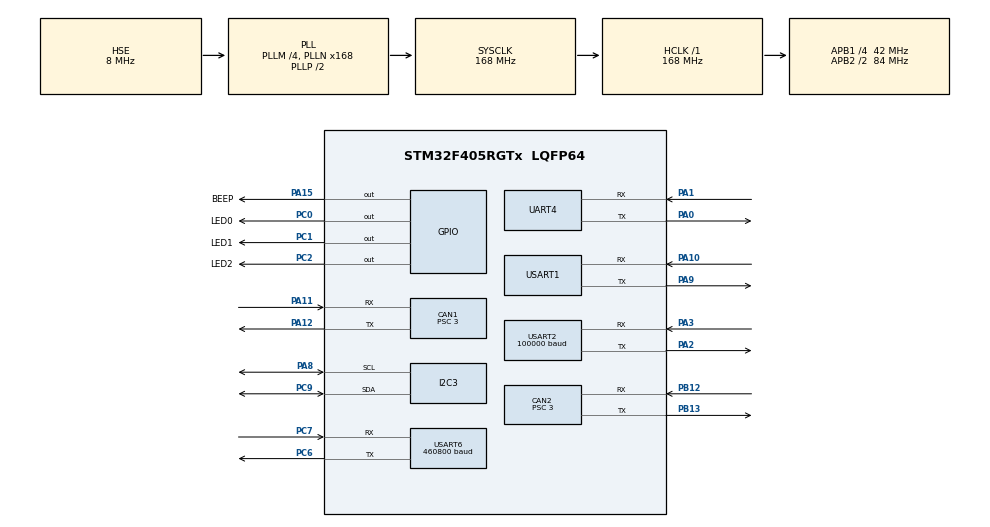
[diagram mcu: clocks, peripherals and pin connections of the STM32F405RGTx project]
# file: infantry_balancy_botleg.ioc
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CAN1.BS1=CAN_BS1_9TQ
CAN1.BS2=CAN_BS2_4TQ
CAN1.CalculateTimeQuantum=71.42857142857143
CAN1.Prescaler=3
CAN2.BS1=CAN_BS1_9TQ
CAN2.BS2=CAN_BS2_4TQ
CAN2.CalculateTimeQuantum=71.42857142857143
CAN2.Prescaler=3
Dma.Request0=USART2_RX
Dma.Request1=USART6_RX
Dma.USART2_RX.0.Direction=DMA_PERIPH_TO_MEMORY
Dma.USART2_RX.0.FIFOMode=DMA_FIFOMODE_DISABLE
Dma.USART2_RX.0.Instance=DMA1_Stream5
Dma.USART2_RX.0.MemDataAlignment=DMA_MDATAALIGN_BYTE
Dma.USART2_RX.0.MemInc=DMA_MINC_ENABLE
Dma.USART2_RX.0.Mode=DMA_NORMAL
Dma.USART2_RX.0.PeriphDataAlignment=DMA_PDATAALIGN_BYTE
Dma.USART2_RX.0.PeriphInc=DMA_PINC_DISABLE
Dma.USART2_RX.0.Priority=DMA_PRIORITY_LOW
Dma.USART6_RX.1.Direction=DMA_PERIPH_TO_MEMORY
Dma.USART6_RX.1.FIFOMode=DMA_FIFOMODE_DISABLE
Dma.USART6_RX.1.Instance=DMA2_Stream1
Dma.USART6_RX.1.MemDataAlignment=DMA_MDATAALIGN_BYTE
Dma.USART6_RX.1.MemInc=DMA_MINC_ENABLE
Dma.USART6_RX.1.Mode=DMA_NORMAL
Dma.USART6_RX.1.PeriphDataAlignment=DMA_PDATAALIGN_BYTE
Dma.USART6_RX.1.PeriphInc=DMA_PINC_DISABLE
Dma.USART6_RX.1.Priority=DMA_PRIORITY_LOW
I2C3.I2C_Mode=I2C_Fast
Mcu.Family=STM32F4
Mcu.Name=STM32F405RGTx
Mcu.Package=LQFP64
NVIC.CAN1_RX0_IRQn=true\:0\:0\:false\:false\:true\:true\:true
NVIC.CAN1_TX_IRQn=true\:0\:0\:false\:false\:true\:true\:true
NVIC.CAN2_RX0_IRQn=true\:0\:0\:false\:false\:true\:true\:true
NVIC.CAN2_TX_IRQn=true\:0\:0\:false\:false\:true\:true\:true
NVIC.DMA1_Stream5_IRQn=true\:0\:0\:false\:false\:true\:false\:true
NVIC.DMA2_Stream1_IRQn=true\:0\:0\:false\:false\:true\:false\:true
NVIC.PriorityGroup=NVIC_PRIORITYGROUP_4
NVIC.TIM3_IRQn=true\:0\:0\:false\:false\:true\:true\:true
NVIC.USART2_IRQn=true\:0\:0\:false\:false\:true\:true\:true
NVIC.USART6_IRQn=true\:0\:0\:false\:false\:true\:true\:true
PA0-WKUP.Mode=Asynchronous
PA0-WKUP.Signal=UART4_TX
PA1.Mode=Asynchronous
PA1.Signal=UART4_RX
PA10.Mode=Asynchronous
PA10.Signal=USART1_RX
PA11.Mode=Master
PA11.Signal=CAN1_RX
PA12.Mode=Master
PA12.Signal=CAN1_TX
PA13.Mode=Serial_Wire
PA13.Signal=SYS_JTMS-SWDIO
PA14.Mode=Serial_Wire
PA14.Signal=SYS_JTCK-SWCLK
PA15.GPIO_Label=BEEP
PA15.Signal=GPIO_Output
PA2.Mode=Asynchronous
PA2.Signal=USART2_TX
PA3.Mode=Asynchronous
PA3.Signal=USART2_RX
PA8.Mode=I2C
PA8.Signal=I2C3_SCL
PA9.Mode=Asynchronous
PA9.Signal=USART1_TX
PB12.Mode=Slave
PB12.Signal=CAN2_RX
PB13.Mode=Slave
PB13.Signal=CAN2_TX
PC0.GPIO_Label=LED0
PC0.PinState=GPIO_PIN_SET
PC0.Signal=GPIO_Output
PC1.GPIO_Label=LED1
PC1.PinState=GPIO_PIN_SET
PC1.Signal=GPIO_Output
PC2.GPIO_Label=LED2
PC2.PinState=GPIO_PIN_SET
PC2.Signal=GPIO_Output
PC6.Mode=Asynchronous
PC6.Signal=USART6_TX
PC7.Mode=Asynchronous
PC7.Signal=USART6_RX
PC9.Mode=I2C
PC9.Signal=I2C3_SDA
PH0-OSC_IN.Mode=HSE-External-Oscillator
PH0-OSC_IN.Signal=RCC_OSC_IN
PH1-OSC_OUT.Mode=HSE-External-Oscillator
PH1-OSC_OUT.Signal=RCC_OSC_OUT
ProjectManager.HeapSize=0x200
ProjectManager.StackSize=0x400
ProjectManager.TargetToolchain=MDK-ARM V5
RCC.48MHZClocksFreq_Value=84000000
RCC.AHBFreq_Value=168000000
RCC.APB1CLKDivider=RCC_HCLK_DIV4
RCC.APB1Freq_Value=42000000
RCC.APB1TimFreq_Value=84000000
RCC.APB2CLKDivider=RCC_HCLK_DIV2
RCC.APB2Freq_Value=84000000
RCC.APB2TimFreq_Value=168000000
RCC.CortexFreq_Value=168000000
RCC.HCLKFreq_Value=168000000
RCC.HSE_VALUE=8000000
RCC.HSI_VALUE=16000000
RCC.LSE_VALUE=32768
RCC.PLLM=4
RCC.PLLN=168
RCC.PLLSourceVirtual=RCC_PLLSOURCE_HSE
RCC.SYSCLKFreq_VALUE=168000000
RCC.SYSCLKSource=RCC_SYSCLKSOURCE_PLLCLK
RCC.VCOOutputFreq_Value=336000000
TIM3.AutoReloadPreload=TIM_AUTORELOAD_PRELOAD_ENABLE
TIM3.Period=1000-1
TIM3.Prescaler=84-1
UART4.VirtualMode=Asynchronous
USART1.VirtualMode=VM_ASYNC
USART2.BaudRate=100000
USART2.VirtualMode=VM_ASYNC
USART6.BaudRate=460800
USART6.VirtualMode=VM_ASYNC
VP_TIM3_VS_ClockSourceINT.Mode=Internal
board=custom

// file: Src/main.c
/* USER CODE BEGIN Header */
/**
  ******************************************************************************
  * @file           : main.c
  * @brief          : Main program body
  ******************************************************************************
  * @attention
  *
  * <h2><center>&copy; Copyright (c) 2023 STMicroelectronics.
  * All rights reserved.</center></h2>
  *
  * This software component is licensed by ST under BSD 3-Clause license,
  * the "License"; You may not use this file except in compliance with the
  * License. You may obtain a copy of the License at:
  *                        opensource.org/licenses/BSD-3-Clause
  *
  ******************************************************************************
  */
/* USER CODE END Header */

#include "main.h"
#include "can.h"
#include "dma.h"
#include "i2c.h"
#include "tim.h"
#include "usart.h"
#include "gpio.h"

/* USER CODE BEGIN Includes */
#include "RC_Task.h"
#include "DataScope_DP.h"
#include "balance_ctrl.h"
#include "balance_cal.h"
#include "imu_data_decode.h"
#include "IMU_Task.h"
#include "CanBus_Task.h"
#include "oled_iic.h"
#include "chassis_task.h"
/* USER CODE END Includes */

/* USER CODE BEGIN PD */
#define LEFT  0
#define RIGHT 1
/* USER CODE END PD */

void SystemClock_Config(void);

/* USER CODE BEGIN 0 */
uint8_t aRxBuffer6[1];

uint8_t OLED_Flag;//屏幕刷新任务时间标志位

#if 1 //R标
/****************************************R标志************************************/
 unsigned char R[] =
{0xFF,0xFF,0xFF,0xFF,0xFF,0xFF,0xFF,0xFF,0xFF,0xFF,0xFF,0xFF,0xFF,0xFF,0xFF,0xFF,
0xFF,0xFF,0xFF,0xFF,0xFF,0xFF,0xFF,0xFF,0xFF,0xFF,0xFF,0xFF,0xFF,0xFF,0xFF,0xFF,
0xFF,0xFF,0xFF,0xFF,0xFF,0xFF,0xFF,0xFF,0xFF,0xFF,0xFF,0xFF,0xFF,0xF7,0xE7,0xC7,
0x07,0x07,0x07,0x07,0x07,0x07,0x07,0x07,0x07,0x07,0x07,0x07,0x07,0x07,0x07,0x07,
0x07,0x07,0x07,0x07,0x07,0x07,0x07,0x07,0x07,0x07,0x07,0x07,0x07,0x0F,0x1F,0x1F,
0x3F,0xFF,0xFF,0xFF,0xFF,0xFF,0xFF,0xFF,0xFF,0xFF,0xFF,0xFF,0xFF,0xFF,0xFF,0xFF,
0xFF,0xFF,0xFF,0xFF,0xFF,0xFF,0xFF,0xFF,0xFF,0xFF,0xFF,0xFF,0xFF,0xFF,0xFF,0xFF,
0xFF,0xFF,0xFF,0xFF,0xFF,0xFF,0xFF,0xFF,0xFF,0xFF,0xFF,0xFF,0xFF,0xFF,0xFF,0xFF,
0xFF,0xFF,0xFF,0xFF,0xFF,0xFF,0xFF,0xFF,0xFF,0xFF,0xFF,0xFF,0xFF,0xFF,0xFF,0xFF,
0xFF,0xFF,0xFF,0xFF,0xFF,0xFF,0xFF,0xFF,0xFF,0xFF,0xFF,0xFF,0xFF,0xFF,0xFF,0xFF,
0xFF,0xFF,0xFF,0xFF,0xFF,0xFF,0xFF,0xFF,0xFF,0xFF,0xFF,0xFF,0xFF,0xFF,0xFF,0xFF,
0xFF,0xFC,0xF8,0xF0,0xE0,0xC0,0x80,0x00,0x00,0x00,0x00,0x00,0x00,0x04,0x0C,0x1C,
0x3C,0x7C,0xFC,0xFC,0xFC,0xFC,0xFC,0xFC,0xFC,0xF8,0x78,0x00,0x00,0x00,0x00,0x00,
0x00,0x00,0x03,0xFF,0xFF,0xFF,0xFF,0xFF,0xFF,0xFF,0xFF,0xFF,0xFF,0xFF,0xFF,0xFF,
0xFF,0xFF,0xFF,0xFF,0xFF,0xFF,0xFF,0xFF,0xFF,0xFF,0xFF,0xFF,0xFF,0xFF,0xFF,0xFF,
0xFF,0xFF,0xFF,0xFF,0xFF,0xFF,0xFF,0xFF,0xFF,0xFF,0xFF,0xFF,0xFF,0xFF,0xFF,0xFF,
0xFF,0xFF,0xFF,0xFF,0xFF,0xFF,0xFF,0xFF,0xFF,0xFF,0xFF,0xFF,0xFF,0xFF,0xFF,0xFF,
0xFF,0xFF,0xFF,0xFF,0xFF,0xFF,0xFF,0xFF,0xFF,0xFF,0xFF,0xFF,0xFF,0xFF,0xFF,0xFF,
0xFF,0xFF,0xFF,0xFF,0xFF,0xFF,0xFF,0xFF,0xFF,0xFF,0xFF,0xFF,0xFF,0xFF,0xFF,0xFF,
0x3F,0x03,0x00,0x00,0x00,0x00,0x00,0x00,0x00,0x00,0x00,0x00,0x00,0x00,0x00,0x00,
0x00,0x00,0x00,0x00,0x00,0x00,0x00,0x00,0x00,0x00,0x00,0x00,0x80,0x80,0xC0,0xC0,
0xF0,0xF8,0xFE,0xFF,0xFF,0xFF,0xFF,0xFF,0xFF,0xFF,0xFF,0xFF,0xFF,0xFF,0xFF,0xFF,
0xFF,0xFF,0xFF,0xFF,0xFF,0xFF,0xFF,0xFF,0xFF,0xFF,0xFF,0xFF,0xFF,0xFF,0xFF,0xFF,
0xFF,0xFF,0xFF,0xFF,0xFF,0xFF,0xFF,0xFF,0xFF,0xFF,0xFF,0xFF,0xFF,0xFF,0xFF,0xFF,
0xFF,0xFF,0xFF,0xFF,0xFF,0xFF,0xFF,0xFF,0xFF,0xFF,0xFF,0xFF,0xFF,0xFF,0xFF,0xFF,
0xFF,0xFF,0xFF,0xFF,0xFF,0xFF,0xFF,0xFF,0xFF,0xFF,0xFF,0xFF,0xFF,0xFF,0xFF,0xFF,
0xFF,0xFF,0xFF,0xFF,0xFF,0xFF,0xFF,0xFF,0xFF,0xFF,0xFF,0xFF,0xFF,0xFF,0x1F,0x03,
0x00,0x00,0x00,0x00,0x00,0x00,0x00,0x00,0xE0,0xFC,0xFF,0xFF,0xFF,0xFF,0xFF,0xFF,
0xFD,0xF9,0xF1,0xC1,0x81,0x01,0x01,0x01,0x01,0x01,0x01,0x03,0x07,0x0F,0x1F,0x7F,
0xFF,0xFF,0xFF,0xFF,0xFF,0xFF,0xFF,0xFF,0xFF,0xFF,0xFF,0xFF,0xFF,0xFF,0xFF,0xFF,
0xFF,0xFF,0xFF,0xFF,0xFF,0xFF,0xFF,0xFF,0xFF,0xFF,0xFF,0xFF,0xFF,0xFF,0xFF,0xFF,
0xFF,0xFF,0xFF,0xFF,0xFF,0xFF,0xFF,0xFF,0xFF,0xFF,0xFF,0xFF,0xFF,0xFF,0xFF,0xFF,
0xFF,0xFF,0xFF,0xFF,0xFF,0xFF,0xFF,0xFF,0xFF,0xFF,0xFF,0xFF,0xFF,0xFF,0xFF,0xFF,
0xFF,0xFF,0xFF,0xFF,0xFF,0xFF,0xFF,0xFF,0xFF,0xFF,0xFF,0xFF,0xFF,0xFF,0xFF,0xFF,
0xFF,0xFF,0xFF,0xFF,0xFF,0xFF,0xFF,0xFF,0xFF,0xFF,0xFF,0xFF,0xEF,0xE1,0xE0,0xE0,
0xE0,0xE0,0xE0,0xE0,0xE0,0xE0,0xF0,0xFE,0xFF,0xFF,0xFF,0xFF,0xFF,0xFE,0xFE,0xFC,
0xFC,0xF8,0xF8,0xF0,0xF0,0xE0,0xE0,0xC0,0xC0,0x80,0x80,0x00,0x08,0x38,0x78,0xF8,
0xF8,0xF9,0xFB,0xFF,0xFF,0xFF,0xFF,0xFF,0xFF,0xFF,0xFF,0xFF,0xFF,0xFF,0xFF,0xFF,
0xFF,0xFF,0xFF,0xFF,0xFF,0xFF,0xFF,0xFF,0xFF,0xFF,0xFF,0xFF,0xFF,0xFF,0xFF,0xFF,
0xFF,0xFF,0xFF,0xFF,0xFF,0xFF,0xFF,0xFF,0xFF,0xFF,0xFF,0xFF,0xFF,0xFF,0xFF,0xFF,
0xFF,0xFF,0xFF,0xFF,0xFF,0xFF,0xFF,0xFF,0xFF,0xFF,0xFF,0xFF,0xFF,0xFF,0xFF,0xFF,
0xFF,0xFF,0xFF,0xFF,0xFF,0xFF,0xFF,0xFF,0xFF,0xFF,0xFF,0xFF,0xFF,0xFF,0xFF,0x7F,
0x7F,0x1F,0x1F,0x1F,0x7F,0x7F,0x7F,0x3F,0x3F,0x9F,0xBF,0x9F,0x1F,0x1F,0x1F,0xFF,
0x1F,0x1F,0x1F,0x9F,0x9F,0x1F,0x1F,0x1F,0x1F,0x9F,0x9F,0x9F,0x1F,0x1F,0x1F,0xFF,
0x7F,0x7F,0x7F,0x7F,0x7F,0x7F,0x1F,0x1F,0x1F,0x3F,0x7F,0x7F,0x7F,0x7E,0x7E,0x7C,
0x3D,0x3B,0x3F,0x1F,0x1F,0x1F,0xFF,0x9F,0x9F,0x9F,0x1F,0x1F,0x1F,0x9F,0x9F,0x9F,
0xBF,0xFF,0xFF,0xFF,0xFF,0xFF,0xFF,0xFF,0xFF,0xFF,0xFF,0xFF,0xFF,0xFF,0xFF,0xFF,
0xFF,0xFF,0xFF,0xFF,0xFF,0xFF,0xFF,0xFF,0xFF,0xFF,0xFF,0xFF,0xFF,0xFF,0xFF,0xFF,
0xFF,0xFF,0xFF,0xFF,0xFF,0xFF,0xFF,0xFF,0xFF,0xFF,0xFF,0xFF,0xFF,0xFF,0xFF,0xFF,
0xFF,0xFF,0xFF,0xFF,0xFF,0xFF,0xFF,0xFF,0xFF,0xFF,0xFF,0xFF,0xFF,0xFF,0x07,0x61,
0x03,0x00,0x00,0x18,0x01,0x0F,0x00,0x00,0xE0,0xFF,0xFF,0x03,0x00,0x00,0xF8,0xC1,
0xC0,0xC0,0xC0,0xD9,0xD9,0x00,0x00,0x00,0x00,0xD9,0xD9,0xD9,0xC0,0xC0,0xC0,0xFF,
0x7C,0x3C,0x1C,0x04,0x00,0xC0,0xE0,0xF8,0xF0,0xE0,0x80,0x04,0x0C,0x1C,0x3C,0x7C,
0xFE,0x00,0x00,0x1F,0x80,0x00,0x00,0x3C,0x00,0x00,0x0E,0xE0,0x00,0x00,0x0E,0xE0,
0x00,0x03,0x3F,0xFF,0xFF,0xFF,0xFF,0xFF,0xFF,0xFF,0xFF,0xFF,0xFF,0xFF,0xFF,0xFF,
0xFF,0xFF,0xFF,0xFF,0xFF,0xFF,0xFF,0xFF,0xFF,0xFF,0xFF,0xFF,0xFF,0xFF,0xFF,0xFF,
0xFF,0xFF,0xFF,0xFF,0xFF,0xFF,0xFF,0xFF,0xFF,0xFF,0xFF,0xFF,0xFF,0xFF,0xFF,0xFF,
0xFF,0xFF,0xFF,0xFF,0xFF,0xFF,0xFF,0xFF,0xFF,0xFF,0xFF,0xFF,0xFF,0xFE,0xEE,0xF0,
0xF8,0xF8,0xFE,0xCE,0xCB,0xEA,0xEA,0xCA,0xD3,0xE7,0xC3,0xDA,0xDA,0xE2,0xDE,0xC3,
0xD3,0xD3,0xC3,0xE3,0xE7,0xC2,0xDA,0xDA,0xE2,0xDF,0xE3,0xE3,0xCF,0xE7,0xF3,0xC2,
0xFE,0xDE,0xE6,0xD2,0xD3,0xC7,0xDF,0xFF,0xD3,0xD3,0xDB,0xDB,0xEA,0xFA,0xC2,0xF2,
0xFA,0xDB,0xD3,0xD2,0xD3,0xD2,0xFE,0xCA,0xEB,0xEA,0xCB,0xD3,0xFC,0xF8,0xF0,0xF0,
0xFF,0xFF,0xFF,0xFF,0xFF,0xFF,0xFF,0xFF,0xFF,0xFF,0xFF,0xFF,0xFF,0xFF,0xFF,0xFF,
0xFF,0xFF,0xFF,0xFF,0xFF,0xFF,0xFF,0xFF,0xFF,0xFF,0xFF,0xFF,0xFF,0xFF,0xFF,0xFF};

/* (128 X 64 ) */
#endif
static void Oled_flush(void)
{
	if(OLED_Flag)
	{
		/*显示角度*/
		OLED_ShowFloatNumber(75,2,IMU_Pitch.angle,1);
		/*板间 现在判断的是相对角度的发送*/
		if(Commucation_Data.lost_flag)
		{
			oled_show_string(75,4,"NO",1);
		}
		else
		{
			oled_show_string(75,4,"OK",1);
		}
		/*电机*/
		/*右*/
		if(MFMOTOR_State_right.lost_flag)
		{
			oled_show_string(75+(0*15),6,"NO",1);
		}
		else
		{
			oled_show_string(75+(0*15),6,"OK",1);
		}
		/*左*/
		if(MFMOTOR_State_left.lost_flag)
		{
			oled_show_string(75+(1*15),6,"NO",1);
		}
		else
		{
			oled_show_string(75+(1*15),6,"OK",1);
		}
		OLED_Flag=0;
	}
}
/* USER CODE END 0 */

int main(void)
{

  /* MCU Configuration--------------------------------------------------------*/

  HAL_Init();  /* Reset of all peripherals, Initializes the Flash interface and the Systick. */

  /* Configure the system clock */
  SystemClock_Config();

  /* Initialize all configured peripherals */
  MX_GPIO_Init();
  MX_DMA_Init();
  MX_CAN1_Init();
  MX_CAN2_Init();
  MX_TIM3_Init();
 	MX_I2C3_Init();
	oled_init();
  MX_UART4_Init();
  MX_USART1_UART_Init();
  MX_USART2_UART_Init();
  MX_USART6_UART_Init();
  /* USER CODE BEGIN 2 */
	HAL_TIM_Base_Start_IT(&htim3);  //使能TIM3中断，溢出时间为1ms
	HAL_UART_Receive_IT_IDLE(&huart2,UART_Buffer,100);//启动串口空闲中断，用于接收遥控器发来的数据
	imu_data_decode_init(); //映射解析函数（数值接收解析初始化）
	HAL_UART_Receive_DMA(&huart6,aRxBuffer6,sizeof(aRxBuffer6));//陀螺仪USART接收
	CANFilterInit();
	PARAM_Pid_init();//PID参数初始化
	SetMotorPid_RAM(&hcan1,MF_MOTOR_ID_LEFT,0,0,0,0,50,50);//ID1
	SetMotorPid_RAM(&hcan1,MF_MOTOR_ID_RIGHT,0,0,0,0,50,50);//ID2

	HAL_GPIO_WritePin(GPIOC, LED0_Pin|LED1_Pin|LED2_Pin, GPIO_PIN_RESET);
	oled_drawBMP(0,0,128,8,R);//绘制R标
	HAL_Delay(500);
	HAL_GPIO_WritePin(GPIOC, LED0_Pin|LED1_Pin|LED2_Pin, GPIO_PIN_SET);
	oled_cls();
	oled_show_string(20,3,"Init finish",2);
	HAL_Delay(500);
	oled_cls();
	oled_show_string(0,0,	"INTERACT",1);
	oled_show_string(0,2,	"Angle",1);
	oled_show_string(0,4,	"Board",1);
	oled_show_string(0,6,	"Motor",1);
	oled_show_string(75,0,"STATE",1);
	oled_show_string(75,2,"?",1);
	oled_show_string(75,4,"?",1);
	oled_show_string(75,6,"?",1);
  /* USER CODE END 2 */

  /* Infinite loop */
  while (1)
  {

    /* USER CODE BEGIN 3 */
		chassis_task();
		if(Data_Scope_DP_Send)//波形读取
    {
			Oled_flush();
		  Data_Scope_DP_Send = 0;
		  DataScope();
    }
  }
  /* USER CODE END 3 */
}

void SystemClock_Config(void)
{
  RCC_OscInitTypeDef RCC_OscInitStruct = {0};
  RCC_ClkInitTypeDef RCC_ClkInitStruct = {0};

  /** Configure the main internal regulator output voltage
  */
  __HAL_RCC_PWR_CLK_ENABLE();
  __HAL_PWR_VOLTAGESCALING_CONFIG(PWR_REGULATOR_VOLTAGE_SCALE1);
  /** Initializes the CPU, AHB and APB busses clocks
  */
  RCC_OscInitStruct.OscillatorType = RCC_OSCILLATORTYPE_HSE;
  RCC_OscInitStruct.HSEState = RCC_HSE_ON;
  RCC_OscInitStruct.PLL.PLLState = RCC_PLL_ON;
  RCC_OscInitStruct.PLL.PLLSource = RCC_PLLSOURCE_HSE;
  RCC_OscInitStruct.PLL.PLLM = 4;
  RCC_OscInitStruct.PLL.PLLN = 168;
  RCC_OscInitStruct.PLL.PLLP = RCC_PLLP_DIV2;
  RCC_OscInitStruct.PLL.PLLQ = 4;
  if (HAL_RCC_OscConfig(&RCC_OscInitStruct) != HAL_OK)
  {
    Error_Handler();
  }
  /** Initializes the CPU, AHB and APB busses clocks
  */
  RCC_ClkInitStruct.ClockType = RCC_CLOCKTYPE_HCLK|RCC_CLOCKTYPE_SYSCLK
                              |RCC_CLOCKTYPE_PCLK1|RCC_CLOCKTYPE_PCLK2;
  RCC_ClkInitStruct.SYSCLKSource = RCC_SYSCLKSOURCE_PLLCLK;
  RCC_ClkInitStruct.AHBCLKDivider = RCC_SYSCLK_DIV1;
  RCC_ClkInitStruct.APB1CLKDivider = RCC_HCLK_DIV4;
  RCC_ClkInitStruct.APB2CLKDivider = RCC_HCLK_DIV2;

  if (HAL_RCC_ClockConfig(&RCC_ClkInitStruct, FLASH_LATENCY_5) != HAL_OK)
  {
    Error_Handler();
  }
}

/* USER CODE BEGIN 4 */
void HAL_TIM_PeriodElapsedCallback(TIM_HandleTypeDef *htim)
{
	static uint8_t  ms = 0;
	static uint16_t ms50 = 0;
	if(htim->Instance == TIM3)
	{
		if(ms++>=1)
		{
			ms = 0;
			/*读取电机状态*/
//			ReadMotorState(&hcan1,MF_MOTOR_ID_LEFT); //发送读取电机状态得命令
//			ReadMotorState(&hcan1,MF_MOTOR_ID_RIGHT);//发送读取电机状态得命令
//			SendMotorCommand(&hcan1,MF_MOTOR_ID_LEFT,0x30);
//			SendMotorCommand(&hcan1,MF_MOTOR_ID_RIGHT,0x30);
			/*检测堵转*/
			if(Gimbal_Motor[LEFT].speed_rpm<=10||Gimbal_Motor[LEFT].speed_rpm>=-10)  count_left++;else closs_left =0;
			if(count_left>=500)closs_left=1;
			if(Gimbal_Motor[RIGHT].speed_rpm<=10||Gimbal_Motor[RIGHT].speed_rpm>=-10)count_right++;else closs_right =0;
			if(count_right>=500)closs_right=1;
			/*标志位置1*/
			Chassis_Ctrl = 1;
		}
		if(ms50++>=50)
		{
			OLED_Flag = 1;
			ms50 = 0;
			Data_Scope_DP_Send=1;
		}
	}
}

/* 陀螺仪串口数据处理 */
void HAL_UART_RxCpltCallback(UART_HandleTypeDef *huart)
{
	if(huart->Instance == USART6)	// 判断是由哪个串口触发的中断
	{
		packet_decode(aRxBuffer6[0]);//解析数据
		HAL_UART_Receive_DMA(&huart6,aRxBuffer6,sizeof(aRxBuffer6));		// 重新使能串口6接收中断
  }

}
void HAL_UART_ErrorCallback(UART_HandleTypeDef *huart)         //丢失后重新开启
{
	if(huart == &huart6)
	{
		__HAL_UNLOCK(huart);
		packet_decode(aRxBuffer6[0]);//解析数据
		HAL_UART_Receive_DMA(&huart6,aRxBuffer6,sizeof(aRxBuffer6));		// 重新使能串口6接收中断
	}
}
/* USER CODE END 4 */

void Error_Handler(void)
{
}

/************************ (C) COPYRIGHT STMicroelectronics *****END OF FILE****/
